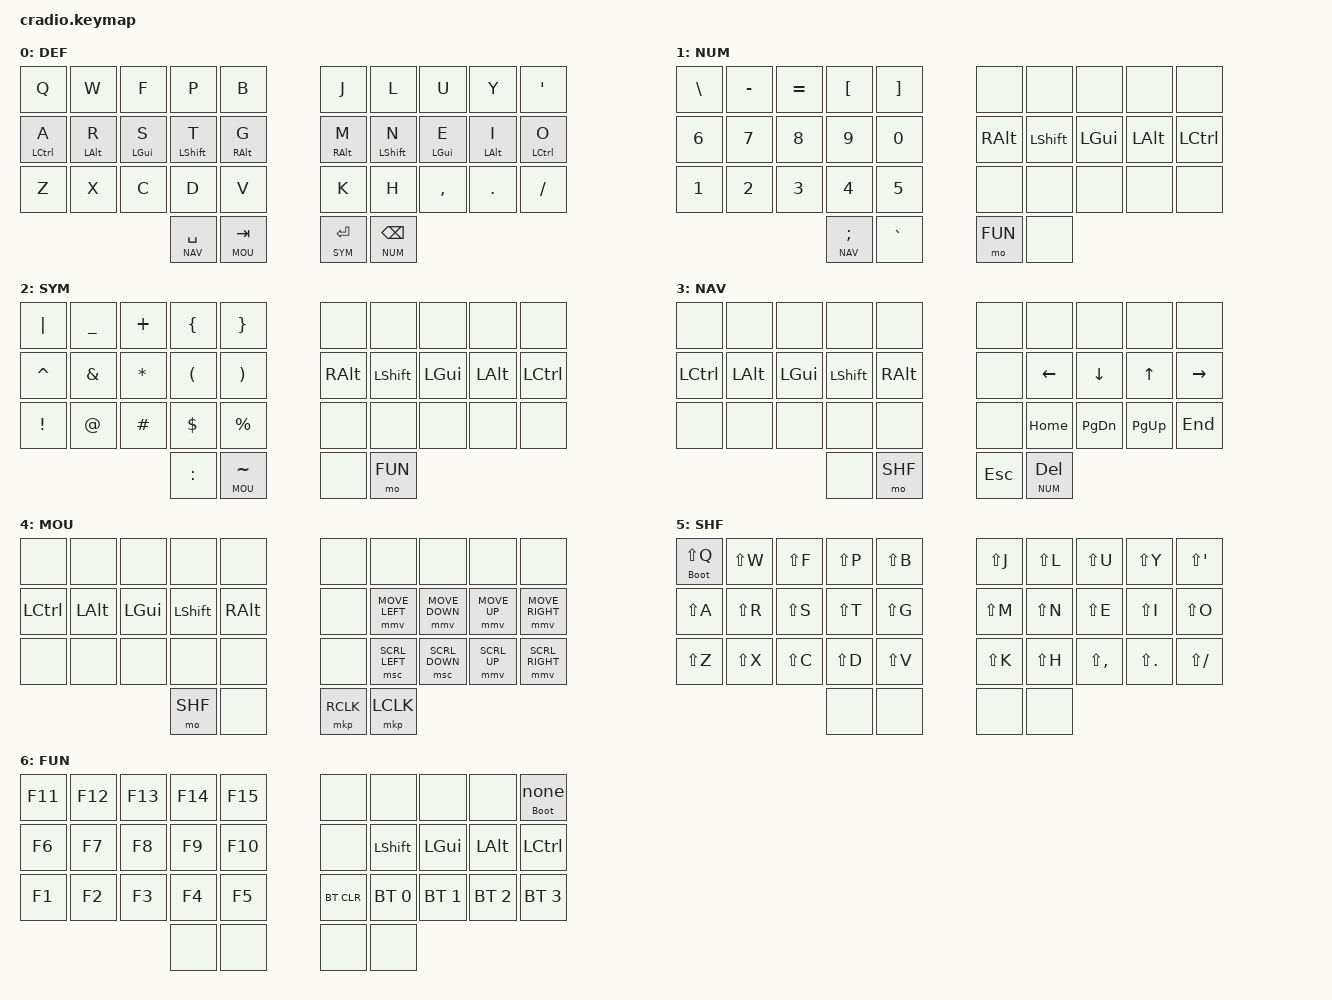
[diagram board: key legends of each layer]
#include <behaviors.dtsi>
#include <behaviors/mouse_keys.dtsi>
#include <dt-bindings/zmk/bt.h>
#include <dt-bindings/zmk/keys.h>
#include <dt-bindings/zmk/mouse.h>

#define DEF 0
#define NUM 1
#define SYM 2
#define NAV 3
#define MOU 4
#define SHF 5
#define FUN 6

// docs: https://zmk.dev/docs/behaviors/hold-tap
#define TAPPING_TERM_MS 200 // how long a key must be pressed to trigger hold behavior.
#define COMBO_TERM_MS 30

// For layer toggle I use the default 200 ms timout with tap-preferred flavor, this means layer will be activated only if thumb key is pressed for timeout duration before released

// https://zmk.dev/docs/keymaps/behaviors/hold-tap#interrupt-flavors
// The "hold-preferred" flavor triggers the hold behavior when the tapping-term-ms has expired or another key is pressed.
// The "balanced" flavor will trigger the hold behavior when the tapping-term-ms has expired or another key is pressed and released while the hold-tap is held.
// The "tap-preferred" flavor triggers the hold behavior when the tapping-term-ms has expired. Pressing another key within tapping-term-ms does not affect the decision.
// The "tap-unless-interrupted" flavor triggers a hold behavior only when another key is pressed before tapping-term-ms has expired. It triggers the tap behavior in all other situations. Note that this flavor inverts the decision logic with respect to the tapping term.

/ {
    behaviors {
        lay: layer_toggle {
            compatible = "zmk,behavior-hold-tap";
            label = "CUSTOM_LAYER_TOGGLE";
            #binding-cells = <2>;
            flavor = "tap-preferred";
            tapping-term-ms = <TAPPING_TERM_MS>;
            bindings = <&mo>, <&kp>;
        };
        hrl: homerow_mods_left {
            compatible = "zmk,behavior-hold-tap";
            label = "HOMEROW_MODS_LEFT";
            #binding-cells = <2>;
            flavor = "tap-preferred";
            tapping-term-ms = <TAPPING_TERM_MS>;
            bindings = <&kp>, <&kp>;

        };
        hrr: homerow_mods_right {
            compatible = "zmk,behavior-hold-tap";
            label = "HOMEROW_MODS_RIGHT";
            #binding-cells = <2>;
            flavor = "tap-preferred";
            tapping-term-ms = <TAPPING_TERM_MS>;
            bindings = <&kp>, <&kp>;
        };
        kpboot: kp_or_bootloader {
            compatible = "zmk,behavior-hold-tap";
            label = "KP_OR_BOOTLOADER";
            #binding-cells = <2>;   // Hold-tap behaviors require 2 parameters
            flavor = "tap-preferred";
            tapping-term-ms = <5000>;
            bindings = <&bootloader>, <&kp>; 
        };
        noboot: none_or_bootloader {
            compatible = "zmk,behavior-hold-tap";
            label = "NONE_OR_BOOTLOADER";
            #binding-cells = <2>;   // Hold-tap behaviors require 2 parameters
            flavor = "tap-preferred";
            tapping-term-ms = <5000>;
            bindings = <&bootloader>, <&none>;
        };
    };
};

/ {
    keymap {
        compatible = "zmk,keymap";

        default_layer {
            label = "DEF";
            bindings = <
// ╭─────────────┬─────────────┬─────────────┬─────────────┬─────────────╮   ╭─────────────┬─────────────┬─────────────┬─────────────┬─────────────╮
     &kp Q         &kp W         &kp F         &kp P         &kp B             &kp J         &kp L         &kp U         &kp Y         &kp APOS
// ├─────────────┼─────────────┼─────────────┼─────────────┼─────────────┤   ├─────────────┼─────────────┼─────────────┼─────────────┼─────────────┤
     &hrl LCTRL A  &hrl LALT R   &hrl LGUI S   &hrl LSHFT T  &hrl RALT G       &hrr RALT M   &hrr LSHFT N  &hrr LGUI E   &hrr LALT I   &hrr LCTRL O
// ├─────────────┼─────────────┼─────────────┼─────────────┼─────────────┤   ├─────────────┼─────────────┼─────────────┼─────────────┼─────────────┤
     &kp Z         &kp X         &kp C         &kp D         &kp V             &kp K         &kp H         &kp COMMA     &kp DOT       &kp SLASH
// ╰─────────────┴─────────────┴─────────────┼─────────────┼─────────────┤   ├─────────────┼─────────────┼─────────────┴─────────────┴─────────────╯
                                               &lay NAV SPC  &lay MOU TAB      &lay SYM RET &lay NUM BSPC
//                                           ╰─────────────┴─────────────╯   ╰─────────────┴─────────────╯
            >;
        };

        number_layer {
            label = "NUM";
            bindings = <
// ╭─────────────┬─────────────┬─────────────┬─────────────┬─────────────╮   ╭─────────────┬─────────────┬─────────────┬─────────────┬─────────────╮
     &kp BSLH      &kp MINUS     &kp EQUAL     &kp LBKT      &kp RBKT          &none         &none         &none         &none         &none
// ├─────────────┼─────────────┼─────────────┼─────────────┼─────────────┤   ├─────────────┼─────────────┼─────────────┼─────────────┼─────────────┤
     &kp N6        &kp N7        &kp N8        &kp N9        &kp N0            &kp RALT      &kp LSHFT     &kp LGUI      &kp LALT      &kp LCTRL
// ├─────────────┼─────────────┼─────────────┼─────────────┼─────────────┤   ├─────────────┼─────────────┼─────────────┼─────────────┼─────────────┤
     &kp N1        &kp N2        &kp N3        &kp N4        &kp N5            &none         &none         &none         &none         &none
// ╰─────────────┴─────────────┴─────────────┼─────────────┼─────────────┤   ├─────────────┼─────────────┼─────────────┴─────────────┴─────────────╯
                                               &lay NAV SEMI &kp GRAVE         &mo FUN       &none
//                                           ╰─────────────┴─────────────╯   ╰─────────────┴─────────────╯
            >;
        };

        symbol_layer {
            label = "SYM";
            bindings = <
// ╭─────────────┬─────────────┬─────────────┬─────────────┬─────────────╮   ╭─────────────┬─────────────┬─────────────┬─────────────┬─────────────╮
     &kp PIPE      &kp UNDER     &kp PLUS      &kp LBRC      &kp RBRC          &none         &none         &none         &none         &none
// ├─────────────┼─────────────┼─────────────┼─────────────┼─────────────┤   ├─────────────┼─────────────┼─────────────┼─────────────┼─────────────┤
     &kp CARET     &kp AMPS      &kp ASTRK     &kp LPAR      &kp RPAR          &kp RALT      &kp LSHFT     &kp LGUI      &kp LALT      &kp LCTRL
// ├─────────────┼─────────────┼─────────────┼─────────────┼─────────────┤   ├─────────────┼─────────────┼─────────────┼─────────────┼─────────────┤
     &kp EXCL      &kp AT        &kp HASH      &kp DLLR      &kp PRCNT         &none         &none         &none         &none         &none
// ╰─────────────┴─────────────┴─────────────┼─────────────┼─────────────┤   ├─────────────┼─────────────┼─────────────┴─────────────┴─────────────╯
                                               &kp COLON     &lay MOU TILDE    &none         &mo FUN
//                                           ╰─────────────┴─────────────╯   ╰─────────────┴─────────────╯
            >;
        };

        navigation_layer {
            label = "NAV";
            bindings = <
// ╭─────────────┬─────────────┬─────────────┬─────────────┬─────────────╮   ╭─────────────┬─────────────┬─────────────┬─────────────┬─────────────╮
     &none         &none         &none         &none         &none             &none         &none         &none         &none         &none
// ├─────────────┼─────────────┼─────────────┼─────────────┼─────────────┤   ├─────────────┼─────────────┼─────────────┼─────────────┼─────────────┤
     &kp LCTRL     &kp LALT      &kp LGUI      &kp LSHFT     &kp RALT          &none         &kp LEFT      &kp DOWN      &kp UP        &kp RIGHT
// ├─────────────┼─────────────┼─────────────┼─────────────┼─────────────┤   ├─────────────┼─────────────┼─────────────┼─────────────┼─────────────┤
     &none         &none         &none         &none         &none             &none         &kp HOME      &kp PG_DN     &kp PG_UP     &kp END
// ╰─────────────┴─────────────┴─────────────┼─────────────┼─────────────┤   ├─────────────┼─────────────┼─────────────┴─────────────┴─────────────╯
                                               &none         &mo SHF           &kp ESC       &lay NUM DEL
//                                           ╰─────────────┴─────────────╯   ╰─────────────┴─────────────╯
            >;
        };

        mouse_layer {
            label = "MOU";
            bindings = <
// ╭─────────────┬─────────────┬─────────────┬─────────────┬─────────────╮   ╭─────────────┬─────────────┬─────────────┬─────────────┬─────────────╮
     &none         &none         &none         &none         &none             &none         &none         &none         &none         &none
// ├─────────────┼─────────────┼─────────────┼─────────────┼─────────────┤   ├─────────────┼─────────────┼─────────────┼─────────────┼─────────────┤
     &kp LCTRL     &kp LALT      &kp LGUI      &kp LSHFT     &kp RALT          &none       &mmv MOVE_LEFT &mmv MOVE_DOWN &mmv MOVE_UP &mmv MOVE_RIGHT
// ├─────────────┼─────────────┼─────────────┼─────────────┼─────────────┤   ├─────────────┼─────────────┼─────────────┼─────────────┼─────────────┤
     &none         &none         &none         &none         &none             &none       &msc SCRL_LEFT &msc SCRL_DOWN &mmv SCRL_UP &mmv SCRL_RIGHT
// ╰─────────────┴─────────────┴─────────────┼─────────────┼─────────────┤   ├─────────────┼─────────────┼─────────────┴─────────────┴─────────────╯
                                               &mo SHF       &none             &mkp RCLK     &mkp LCLK     
//                                           ╰─────────────┴─────────────╯   ╰─────────────┴─────────────╯
            >;
        };

        shift_layer {
            label = "SHF";
            bindings = <
// ╭─────────────┬─────────────┬─────────────┬─────────────┬─────────────╮   ╭─────────────┬─────────────┬─────────────┬─────────────┬─────────────╮
     &kpboot 0 LS(Q) &kp LS(W)   &kp LS(F)     &kp LS(P)     &kp LS(B)         &kp LS(J)     &kp LS(L)     &kp LS(U)     &kp LS(Y)     &kp LS(APOS)
// ├─────────────┼─────────────┼─────────────┼─────────────┼─────────────┤   ├─────────────┼─────────────┼─────────────┼─────────────┼─────────────┤
     &kp LS(A)     &kp LS(R)     &kp LS(S)     &kp LS(T)     &kp LS(G)         &kp LS(M)     &kp LS(N)     &kp LS(E)     &kp LS(I)     &kp LS(O)
// ├─────────────┼─────────────┼─────────────┼─────────────┼─────────────┤   ├─────────────┼─────────────┼─────────────┼─────────────┼─────────────┤
     &kp LS(Z)     &kp LS(X)     &kp LS(C)     &kp LS(D)     &kp LS(V)         &kp LS(K)     &kp LS(H)     &kp LS(COMMA) &kp LS(DOT)   &kp LS(SLASH)
// ╰─────────────┴─────────────┴─────────────┼─────────────┼─────────────┤   ├─────────────┼─────────────┼─────────────┴─────────────┴─────────────╯
                                               &none         &none             &none         &none
//                                           ╰─────────────┴─────────────╯   ╰─────────────┴─────────────╯
            >;
        };

        function_layer {
            label = "FUN";
            bindings = <
// ╭─────────────┬─────────────┬─────────────┬─────────────┬─────────────╮   ╭─────────────┬─────────────┬─────────────┬─────────────┬─────────────╮
     &kp F11       &kp F12       &kp F13       &kp F14       &kp F15           &none         &none         &none         &none         &noboot 0 0
// ├─────────────┼─────────────┼─────────────┼─────────────┼─────────────┤   ├─────────────┼─────────────┼─────────────┼─────────────┼─────────────┤
     &kp F6        &kp F7        &kp F8        &kp F9        &kp F10           &none         &kp LSHFT     &kp LGUI      &kp LALT      &kp LCTRL
// ├─────────────┼─────────────┼─────────────┼─────────────┼─────────────┤   ├─────────────┼─────────────┼─────────────┼─────────────┼─────────────┤
     &kp F1        &kp F2        &kp F3        &kp F4        &kp F5            &bt BT_CLR    &bt BT_SEL 0  &bt BT_SEL 1  &bt BT_SEL 2  &bt BT_SEL 3     
// ╰─────────────┴─────────────┴─────────────┼─────────────┼─────────────┤   ├─────────────┼─────────────┼─────────────┴─────────────┴─────────────╯
                                               &none         &none             &none         &none
//                                           ╰─────────────┴─────────────╯   ╰─────────────┴─────────────╯
            >;
        };

   };
};
